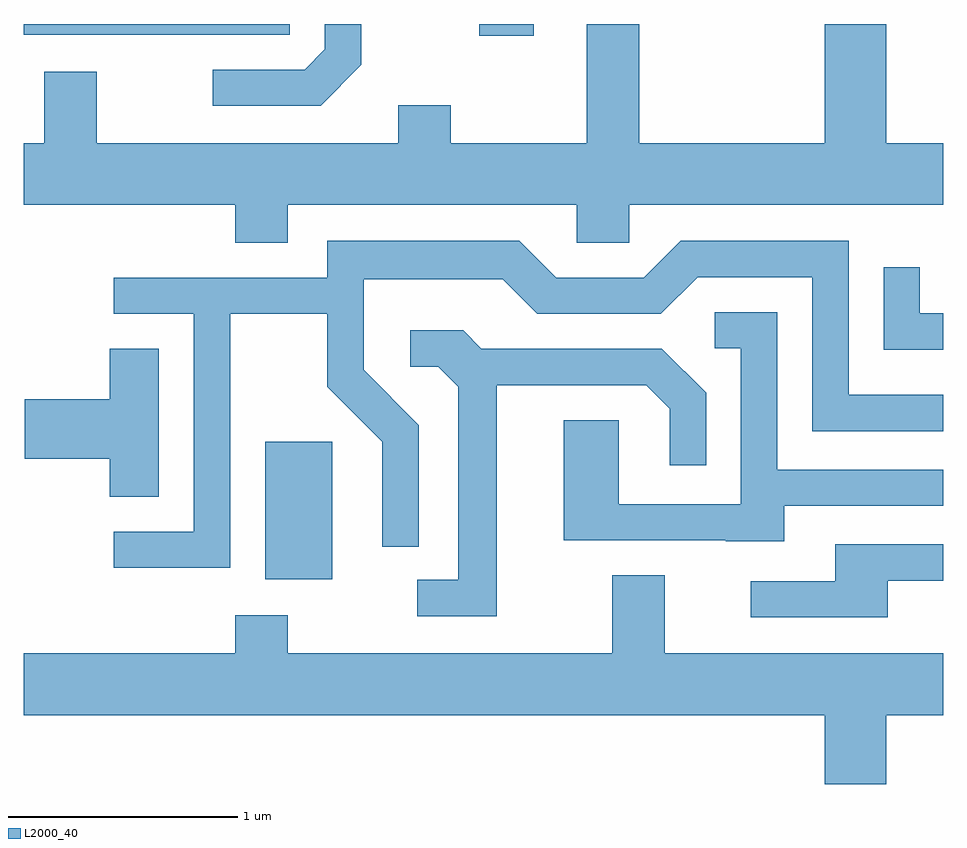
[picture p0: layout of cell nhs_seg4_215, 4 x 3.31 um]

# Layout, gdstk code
import gdstk
lib = gdstk.Library(unit=1e-6, precision=1e-09)
def R(c, l, rs):  # rectangles x0, y0, x1, y1
    for r in rs: c.add(gdstk.rectangle(r[:2], r[2:], *l))
def P(c, l, *ps):  # polygons
    for p in ps: c.add(gdstk.Polygon(p, *l))
L2000_40 = (2000, 40)

nhs_seg4_215 = lib.new_cell('nhs_seg4_215')
R(nhs_seg4_215, L2000_40, [(192.661,1277.566,192.954,1278.164), (193.593,1279.931,193.829,1279.982), (191.611,1279.936,192.769,1279.982)])
P(nhs_seg4_215, L2000_40, [(192.759,1279.196),(194.016,1279.196),(194.016,1279.031),(194.244,1279.031),(194.244,1279.196),(195.611,1279.196),(195.611,1279.464),(195.364,1279.464),(195.364,1279.982),(195.096,1279.982),(195.096,1279.464),(194.289,1279.464),(194.289,1279.982),(194.061,1279.982),(194.061,1279.464),(193.469,1279.464),(193.469,1279.629),(193.241,1279.629),(193.241,1279.464),(191.929,1279.464),(191.929,1279.774),(191.701,1279.774),(191.701,1279.464),(191.611,1279.464),(191.611,1279.196),(192.531,1279.196),(192.531,1279.031),(192.759,1279.031)],
  [(193.079,1279.804),(193.079,1279.982),(192.921,1279.982),(192.921,1279.872),(192.834,1279.784),(192.433,1279.784),(192.433,1279.626),(192.902,1279.626)],
  [(192.509,1278.721),(192.931,1278.721),(192.931,1278.404),(193.171,1278.164),(193.171,1277.708),(193.329,1277.708),(193.329,1278.237),(193.089,1278.477),(193.089,1278.871),(193.694,1278.871),(193.844,1278.721),(194.382,1278.721),(194.542,1278.881),(195.041,1278.881),(195.041,1278.211),(195.611,1278.211),(195.611,1278.369),(195.199,1278.369),(195.199,1279.039),(194.469,1279.039),(194.309,1278.879),(193.927,1278.879),(193.767,1279.039),(192.931,1279.039),(192.931,1278.879),(192.003,1278.879),(192.003,1278.721),(192.351,1278.721),(192.351,1277.774),(192.003,1277.774),(192.003,1277.616),(192.509,1277.616)],
  [(195.611,1278.724),(195.509,1278.724),(195.509,1278.923),(195.351,1278.923),(195.351,1278.566),(195.611,1278.566)],
  [(194.919,1277.886),(195.611,1277.886),(195.611,1278.044),(194.889,1278.044),(194.889,1278.729),(194.618,1278.729),(194.618,1278.571),(194.731,1278.571),(194.731,1277.894),(194.199,1277.894),(194.199,1278.259),(193.961,1278.259),(193.961,1277.736),(194.665,1277.736),(194.665,1277.731),(194.919,1277.731)],
  [(193.669,1278.411),(194.319,1278.411),(194.421,1278.309),(194.421,1278.063),(194.579,1278.063),(194.579,1278.377),(194.387,1278.569),(193.602,1278.569),(193.522,1278.649),(193.293,1278.649),(193.293,1278.491),(193.414,1278.491),(193.501,1278.404),(193.501,1277.564),(193.323,1277.564),(193.323,1277.406),(193.669,1277.406)],
  [(192.199,1278.569),(191.986,1278.569),(191.986,1278.349),(191.616,1278.349),(191.616,1278.091),(191.986,1278.091),(191.986,1277.926),(192.199,1277.926)],
  [(195.369,1277.561),(195.611,1277.561),(195.611,1277.719),(195.141,1277.719),(195.141,1277.559),(194.773,1277.559),(194.773,1277.401),(195.369,1277.401)],
  [(195.364,1276.976),(195.611,1276.976),(195.611,1277.244),(194.399,1277.244),(194.399,1277.584),(194.171,1277.584),(194.171,1277.244),(192.759,1277.244),(192.759,1277.409),(192.531,1277.409),(192.531,1277.244),(191.611,1277.244),(191.611,1276.976),(195.096,1276.976),(195.096,1276.676),(195.364,1276.676)])

lib.write_gds('nhs_seg4_215.gds')
